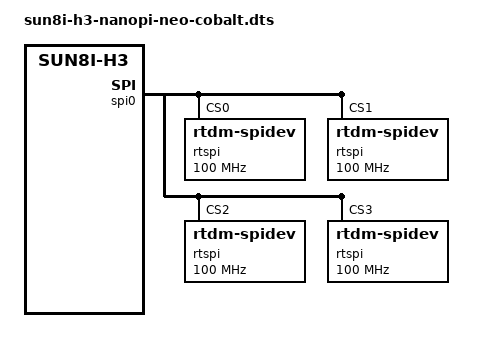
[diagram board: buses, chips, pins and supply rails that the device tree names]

#include "sun8i-h3-nanopi-neo.dts"

&spi0 {
      rtspi@0 {
		compatible = "rtdm-spidev";
		reg = <0>;
		#address-cells = <1>;
		#size-cells = <0>;
		spi-max-frequency = <100000000>;
		status = "okay";
	};

      rtspi@1 {
		compatible = "rtdm-spidev";
		reg = <1>;
		#address-cells = <1>;
		#size-cells = <0>;
		spi-max-frequency = <100000000>;
		status = "okay";
	};

      rtspi@2 {
		compatible = "rtdm-spidev";
		reg = <2>;
		#address-cells = <1>;
		#size-cells = <0>;
		spi-max-frequency = <100000000>;
		status = "okay";
	};

      rtspi@3 {
		compatible = "rtdm-spidev";
		reg = <3>;
		#address-cells = <1>;
		#size-cells = <0>;
		spi-max-frequency = <100000000>;
		status = "okay";
	};
};
